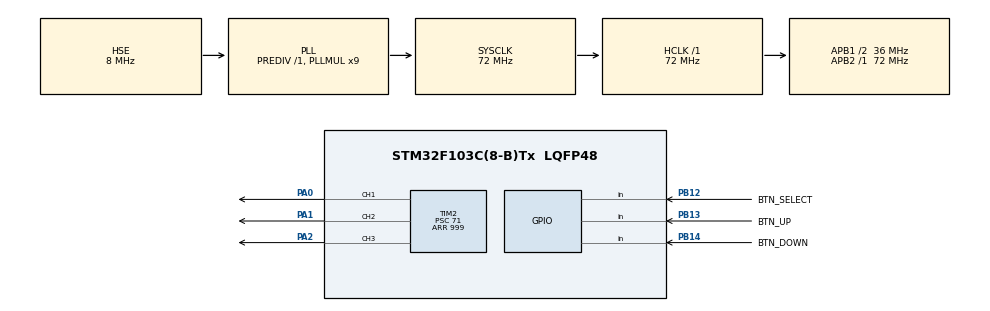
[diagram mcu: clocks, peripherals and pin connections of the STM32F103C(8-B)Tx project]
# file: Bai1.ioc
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FREERTOS.Queues01=myQueue,16,uint16_t,0,Dynamic,NULL,NULL
FREERTOS.Tasks01=Task_Button,0,128,StartTaskButton,Default,NULL,Dynamic,NULL,NULL;Task_LED1,0,128,StartTaskLED1,Default,NULL,Dynamic,NULL,NULL;Task_LED2,0,128,StartTaskLED2,Default,NULL,Dynamic,NULL,NULL;Task_LED3,0,128,StartTaskLED3,Default,NULL,Dynamic,NULL,NULL
FREERTOS.configTOTAL_HEAP_SIZE=10240
Mcu.Family=STM32F1
Mcu.Name=STM32F103C(8-B)Tx
Mcu.Package=LQFP48
NVIC.PriorityGroup=NVIC_PRIORITYGROUP_4
NVIC.TIM4_IRQn=true\:15\:0\:false\:false\:true\:false\:false\:true\:true
NVIC.TimeBase=TIM4_IRQn
NVIC.TimeBaseIP=TIM4
PA0-WKUP.Signal=S_TIM2_CH1_ETR
PA1.Signal=S_TIM2_CH2
PA13.Mode=Serial_Wire
PA13.Signal=SYS_JTMS-SWDIO
PA14.Mode=Serial_Wire
PA14.Signal=SYS_JTCK-SWCLK
PA2.Signal=S_TIM2_CH3
PB12.GPIO_Label=BTN_SELECT
PB12.GPIO_PuPd=GPIO_PULLUP
PB12.Signal=GPIO_Input
PB13.GPIO_Label=BTN_UP
PB13.GPIO_PuPd=GPIO_PULLUP
PB13.Signal=GPIO_Input
PB14.GPIO_Label=BTN_DOWN
PB14.GPIO_PuPd=GPIO_PULLUP
PB14.Signal=GPIO_Input
PD0-OSC_IN.Mode=HSE-External-Oscillator
PD0-OSC_IN.Signal=RCC_OSC_IN
PD1-OSC_OUT.Mode=HSE-External-Oscillator
PD1-OSC_OUT.Signal=RCC_OSC_OUT
ProjectManager.HeapSize=0x200
ProjectManager.StackSize=0x400
ProjectManager.TargetToolchain=MDK-ARM V5.32
RCC.AHBFreq_Value=72000000
RCC.APB1CLKDivider=RCC_HCLK_DIV2
RCC.APB1Freq_Value=36000000
RCC.APB1TimFreq_Value=72000000
RCC.APB2Freq_Value=72000000
RCC.APB2TimFreq_Value=72000000
RCC.HCLKFreq_Value=72000000
RCC.PLLMUL=RCC_PLL_MUL9
RCC.PLLSourceVirtual=RCC_PLLSOURCE_HSE
RCC.SYSCLKFreq_VALUE=72000000
RCC.SYSCLKSource=RCC_SYSCLKSOURCE_PLLCLK
RCC.USBFreq_Value=72000000
SH.S_TIM2_CH1_ETR.0=TIM2_CH1,PWM Generation1 CH1
SH.S_TIM2_CH2.0=TIM2_CH2,PWM Generation2 CH2
SH.S_TIM2_CH3.0=TIM2_CH3,PWM Generation3 CH3
TIM2.Channel-PWM\ Generation1\ CH1=TIM_CHANNEL_1
TIM2.Channel-PWM\ Generation2\ CH2=TIM_CHANNEL_2
TIM2.Channel-PWM\ Generation3\ CH3=TIM_CHANNEL_3
TIM2.Period=999
TIM2.Prescaler=71
VP_FREERTOS_VS_CMSIS_V1.Mode=CMSIS_V1
VP_SYS_VS_tim4.Mode=TIM4
VP_TIM2_VS_ClockSourceINT.Mode=Internal
board=custom

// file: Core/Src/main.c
/* USER CODE BEGIN Header */
/**
  ******************************************************************************
  * @file           : main.c
  * @brief          : Main program body
  ******************************************************************************
  * @attention
  *
  * Copyright (c) 2026 STMicroelectronics.
  * All rights reserved.
  *
  * This software is licensed under terms that can be found in the LICENSE file
  * in the root directory of this software component.
  * If no LICENSE file comes with this software, it is provided AS-IS.
  *
  ******************************************************************************
  */
/* USER CODE END Header */
#include "main.h"
#include "cmsis_os.h"

TIM_HandleTypeDef htim2;

osThreadId Task_ButtonHandle;
osThreadId Task_LED1Handle;
osThreadId Task_LED2Handle;
osThreadId Task_LED3Handle;
osMessageQId myQueueHandle;

void SystemClock_Config(void);
static void MX_GPIO_Init(void);
static void MX_TIM2_Init(void);
void StartTaskButton(void const * argument);
void StartTaskLED1(void const * argument);
void StartTaskLED2(void const * argument);
void StartTaskLED3(void const * argument);

/* USER CODE BEGIN 0 */
uint16_t led_duty[3] = {0, 0, 0}; // Mang luu do sang cua 3 LED (0 den 1000)
uint8_t current_led = 0;          // ID den dang chon (0: LED1, 1: LED2, 2: LED3)
/* USER CODE END 0 */

int main(void)
{

  /* MCU Configuration--------------------------------------------------------*/

  /* Reset of all peripherals, Initializes the Flash interface and the Systick. */
  HAL_Init();

  /* Configure the system clock */
  SystemClock_Config();

  /* Initialize all configured peripherals */
  MX_GPIO_Init();
  MX_TIM2_Init();
  /* USER CODE BEGIN 2 */
  HAL_TIM_PWM_Start(&htim2, TIM_CHANNEL_1);
  HAL_TIM_PWM_Start(&htim2, TIM_CHANNEL_2);
  HAL_TIM_PWM_Start(&htim2, TIM_CHANNEL_3); //cap xung pwm
  /* USER CODE END 2 */

  /* Create the queue(s) */
  /* definition and creation of myQueue */
  osMessageQDef(myQueue, 16, uint16_t);
  myQueueHandle = osMessageCreate(osMessageQ(myQueue), NULL);

  /* Create the thread(s) */
  /* definition and creation of Task_Button */
  osThreadDef(Task_Button, StartTaskButton, osPriorityNormal, 0, 128);
  Task_ButtonHandle = osThreadCreate(osThread(Task_Button), NULL);

  /* definition and creation of Task_LED1 */
  osThreadDef(Task_LED1, StartTaskLED1, osPriorityNormal, 0, 128);
  Task_LED1Handle = osThreadCreate(osThread(Task_LED1), NULL);

  /* definition and creation of Task_LED2 */
  osThreadDef(Task_LED2, StartTaskLED2, osPriorityNormal, 0, 128);
  Task_LED2Handle = osThreadCreate(osThread(Task_LED2), NULL);

  /* definition and creation of Task_LED3 */
  osThreadDef(Task_LED3, StartTaskLED3, osPriorityNormal, 0, 128);
  Task_LED3Handle = osThreadCreate(osThread(Task_LED3), NULL);

  /* Start scheduler */
  osKernelStart();

  /* We should never get here as control is now taken by the scheduler */

  /* Infinite loop */
  while (1)
  {

  }
}

void SystemClock_Config(void)
{
  RCC_OscInitTypeDef RCC_OscInitStruct = {0};
  RCC_ClkInitTypeDef RCC_ClkInitStruct = {0};

  /** Initializes the RCC Oscillators according to the specified parameters
  * in the RCC_OscInitTypeDef structure.
  */
  RCC_OscInitStruct.OscillatorType = RCC_OSCILLATORTYPE_HSE;
  RCC_OscInitStruct.HSEState = RCC_HSE_ON;
  RCC_OscInitStruct.HSEPredivValue = RCC_HSE_PREDIV_DIV1;
  RCC_OscInitStruct.HSIState = RCC_HSI_ON;
  RCC_OscInitStruct.PLL.PLLState = RCC_PLL_ON;
  RCC_OscInitStruct.PLL.PLLSource = RCC_PLLSOURCE_HSE;
  RCC_OscInitStruct.PLL.PLLMUL = RCC_PLL_MUL9;
  if (HAL_RCC_OscConfig(&RCC_OscInitStruct) != HAL_OK)
  {
    Error_Handler();
  }

  /** Initializes the CPU, AHB and APB buses clocks
  */
  RCC_ClkInitStruct.ClockType = RCC_CLOCKTYPE_HCLK|RCC_CLOCKTYPE_SYSCLK
                              |RCC_CLOCKTYPE_PCLK1|RCC_CLOCKTYPE_PCLK2;
  RCC_ClkInitStruct.SYSCLKSource = RCC_SYSCLKSOURCE_PLLCLK;
  RCC_ClkInitStruct.AHBCLKDivider = RCC_SYSCLK_DIV1;
  RCC_ClkInitStruct.APB1CLKDivider = RCC_HCLK_DIV2;
  RCC_ClkInitStruct.APB2CLKDivider = RCC_HCLK_DIV1;

  if (HAL_RCC_ClockConfig(&RCC_ClkInitStruct, FLASH_LATENCY_2) != HAL_OK)
  {
    Error_Handler();
  }
}

static void MX_TIM2_Init(void)
{

  TIM_ClockConfigTypeDef sClockSourceConfig = {0};
  TIM_MasterConfigTypeDef sMasterConfig = {0};
  TIM_OC_InitTypeDef sConfigOC = {0};

  htim2.Instance = TIM2;
  htim2.Init.Prescaler = 71;
  htim2.Init.CounterMode = TIM_COUNTERMODE_UP;
  htim2.Init.Period = 999; //cong thuc chia tan de bam xung
  htim2.Init.ClockDivision = TIM_CLOCKDIVISION_DIV1;
  htim2.Init.AutoReloadPreload = TIM_AUTORELOAD_PRELOAD_DISABLE;
  if (HAL_TIM_Base_Init(&htim2) != HAL_OK)
  {
    Error_Handler();
  }
  sClockSourceConfig.ClockSource = TIM_CLOCKSOURCE_INTERNAL;
  if (HAL_TIM_ConfigClockSource(&htim2, &sClockSourceConfig) != HAL_OK)
  {
    Error_Handler();
  }
  if (HAL_TIM_PWM_Init(&htim2) != HAL_OK)
  {
    Error_Handler();
  }
  sMasterConfig.MasterOutputTrigger = TIM_TRGO_RESET;
  sMasterConfig.MasterSlaveMode = TIM_MASTERSLAVEMODE_DISABLE;
  if (HAL_TIMEx_MasterConfigSynchronization(&htim2, &sMasterConfig) != HAL_OK)
  {
    Error_Handler();
  }
  sConfigOC.OCMode = TIM_OCMODE_PWM1;
  sConfigOC.Pulse = 0;
  sConfigOC.OCPolarity = TIM_OCPOLARITY_HIGH;
  sConfigOC.OCFastMode = TIM_OCFAST_DISABLE;
  if (HAL_TIM_PWM_ConfigChannel(&htim2, &sConfigOC, TIM_CHANNEL_1) != HAL_OK)
  {
    Error_Handler();
  }
  if (HAL_TIM_PWM_ConfigChannel(&htim2, &sConfigOC, TIM_CHANNEL_2) != HAL_OK)
  {
    Error_Handler();
  }
  if (HAL_TIM_PWM_ConfigChannel(&htim2, &sConfigOC, TIM_CHANNEL_3) != HAL_OK)
  {
    Error_Handler();
  }
  HAL_TIM_MspPostInit(&htim2);

}

static void MX_GPIO_Init(void)
{
  GPIO_InitTypeDef GPIO_InitStruct = {0};

  /* GPIO Ports Clock Enable */
  __HAL_RCC_GPIOD_CLK_ENABLE();
  __HAL_RCC_GPIOA_CLK_ENABLE();
  __HAL_RCC_GPIOB_CLK_ENABLE();

  /*Configure GPIO pins : BTN_SELECT_Pin BTN_UP_Pin BTN_DOWN_Pin */ //pin12: select, pin13: up, pin14 : down
  GPIO_InitStruct.Pin = GPIO_PIN_12|GPIO_PIN_13|GPIO_PIN_14;
  GPIO_InitStruct.Mode = GPIO_MODE_INPUT;
  GPIO_InitStruct.Pull = GPIO_PULLUP;
  HAL_GPIO_Init(GPIOB, &GPIO_InitStruct);

}

void StartTaskButton(void const * argument)
{
  /* USER CODE BEGIN 5 */
  /* Infinite loop */
 for(;;)
  {
    // 1. NUT SELECT - Chon LED (Chan PB12)
    if (HAL_GPIO_ReadPin(GPIOB, GPIO_PIN_12) == GPIO_PIN_RESET) {
      osDelay(50); // Chong rung phim
      if (HAL_GPIO_ReadPin(GPIOB, GPIO_PIN_12) == GPIO_PIN_RESET) {
        current_led++;
        if (current_led > 2) current_led = 0; // Xoay vong 0 -> 1 -> 2
        while(HAL_GPIO_ReadPin(GPIOB, GPIO_PIN_12) == GPIO_PIN_RESET) osDelay(10); // Cho nha nut
      }
    }

    // 2. NUT UP - Tang do sang (Chan PB13)
    if (HAL_GPIO_ReadPin(GPIOB, GPIO_PIN_13) == GPIO_PIN_RESET) {
      osDelay(50);
      if (HAL_GPIO_ReadPin(GPIOB, GPIO_PIN_13) == GPIO_PIN_RESET) {
        if (led_duty[current_led] < 1000) {
          led_duty[current_led] += 100; // Tang 10%
        }

        // DONG GOI BIT: Dich ID len 12 bit cao, giu do sang o 12 bit thap
        uint16_t msg = (current_led << 12) | led_duty[current_led];
        osMessagePut(myQueueHandle, msg, 100); // Gui tin nhan vao Queue

        while(HAL_GPIO_ReadPin(GPIOB, GPIO_PIN_13) == GPIO_PIN_RESET) osDelay(10);
      }
    }

    // 3. NUT DOWN - Giam do sang (Chan PB14)
    if (HAL_GPIO_ReadPin(GPIOB, GPIO_PIN_14) == GPIO_PIN_RESET) {
      osDelay(50);
      if (HAL_GPIO_ReadPin(GPIOB, GPIO_PIN_14) == GPIO_PIN_RESET) {
        if (led_duty[current_led] >= 100) {
          led_duty[current_led] -= 100; // Giam 10%
        }

        // Dong goi bit tuong tu nhu tren
        uint16_t msg = (current_led << 12) | led_duty[current_led];
        osMessagePut(myQueueHandle, msg, 100);

        while(HAL_GPIO_ReadPin(GPIOB, GPIO_PIN_14) == GPIO_PIN_RESET) osDelay(10);
      }
    }

    osDelay(20); // Nhuong CPU cho Task khac
  }
  /* USER CODE END 5 */
}

void StartTaskLED1(void const * argument)
{
  /* USER CODE BEGIN StartTaskLED1 */
  /* Infinite loop */
 for(;;)
  {
    osEvent evt = osMessageGet(myQueueHandle, osWaitForever); // Cho lay tin nhan
    if (evt.status == osEventMessage) {
      uint16_t msg = evt.value.v;

      // GIAI MA BIT
      uint8_t target_led = msg >> 12;         // Doc 4 bit cao lay ID den
      uint16_t duty = msg & 0x0FFF;           // Mat na bit de lay 12 bit thap chua do sang

      if (target_led == 0) {
        // Dung la ID cua LED 1 -> Cap nhat PWM o CHANNEL 1
        __HAL_TIM_SET_COMPARE(&htim2, TIM_CHANNEL_1, duty);
      } else {
        // Cua LED khac -> Tra lai vao Queue
        osMessagePut(myQueueHandle, msg, 0);
        osDelay(2); // Di ngu 2ms de nhuong cho Task cua LED khac lay
      }
    }
  }
  /* USER CODE END StartTaskLED1 */
}

void StartTaskLED2(void const * argument)
{
  /* USER CODE BEGIN StartTaskLED2 */
  /* Infinite loop */
  for(;;)
  {
    osEvent evt = osMessageGet(myQueueHandle, osWaitForever);
    if (evt.status == osEventMessage) {
      uint16_t msg = evt.value.v;
      uint8_t target_led = msg >> 12;
      uint16_t duty = msg & 0x0FFF;

      if (target_led == 1) { // LED 2 ID la 1
        // Cap nhat PWM o CHANNEL 2
        __HAL_TIM_SET_COMPARE(&htim2, TIM_CHANNEL_2, duty);
      } else {
        osMessagePut(myQueueHandle, msg, 0);
        osDelay(2);
      }
    }
  }
  /* USER CODE END StartTaskLED2 */
}

void StartTaskLED3(void const * argument)
{
  /* USER CODE BEGIN StartTaskLED3 */
  /* Infinite loop */
  for(;;)
  {
    osEvent evt = osMessageGet(myQueueHandle, osWaitForever);
    if (evt.status == osEventMessage) {
      uint16_t msg = evt.value.v;
      uint8_t target_led = msg >> 12;
      uint16_t duty = msg & 0x0FFF;

      if (target_led == 2) { // LED 3 ID la 2
        // Cap nhat PWM o CHANNEL 3
        __HAL_TIM_SET_COMPARE(&htim2, TIM_CHANNEL_3, duty);
      } else {
        osMessagePut(myQueueHandle, msg, 0);
        osDelay(2);
      }
    }
  }
  /* USER CODE END StartTaskLED3 */
}

void HAL_TIM_PeriodElapsedCallback(TIM_HandleTypeDef *htim)
{
  if (htim->Instance == TIM4)
  {
    HAL_IncTick();
  }
}

void Error_Handler(void)
{
  __disable_irq();
  while (1)
  {
  }
}
